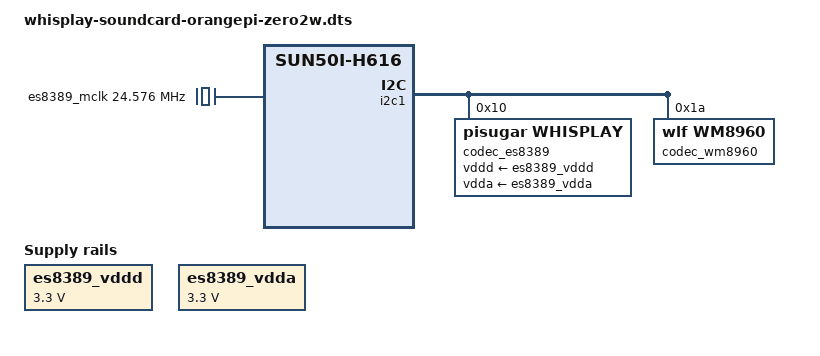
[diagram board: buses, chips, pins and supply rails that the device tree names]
/*
 * Whisplay unified sound card overlay for Orange Pi Zero 2W (H618).
 *
 * Header wiring:
 *   PIN_3  SDA  -> I2C1_SDA (PI8)
 *   PIN_5  SCL  -> I2C1_SCL (PI7)
 *   PIN_12 BCLK -> I2S0_BCLK (PI1)
 *   PIN_35 LRCK -> I2S0_LRCK (PI2)
 *   PIN_38 SDI  -> I2S0_DIN0 (PI4)
 *   PIN_40 SDO  -> I2S0_DOUT0 (PI3)
 */

/dts-v1/;
/plugin/;

/ {
	compatible = "xunlong,orangepi-zero2w", "allwinner,sun50i-h616";

	fragment@0 {
		target = <&pio>;
		__overlay__ {
			whisplay_i2s0_clk_pins: whisplay-i2s0-clk-pins {
				pins = "PI1", "PI2";
				function = "i2s0";
				drive-strength = <20>;
				bias-disable;
			};

			whisplay_i2s0_dout_pin: whisplay-i2s0-dout-pin {
				pins = "PI3";
				function = "i2s0_dout0";
				drive-strength = <20>;
				bias-disable;
			};

			whisplay_i2s0_din_pin: whisplay-i2s0-din-pin {
				pins = "PI4";
				function = "i2s0_din0";
				drive-strength = <20>;
				bias-disable;
			};
		};
	};

	fragment@1 {
		target-path = "/soc";
		__overlay__ {
			whisplay_ahub0: whisplay-ahub0 {
				#sound-dai-cells = <0>;
				compatible = "allwinner,sunxi-snd-plat-ahub";
				apb_num = <0>;
				dmas = <&dma 3>, <&dma 3>;
				dma-names = "tx", "rx";
				playback_cma = <128>;
				capture_cma = <128>;
				tx_fifo_size = <128>;
				rx_fifo_size = <128>;
				tdm_num = <0>;
				tx_pin = <0>;
				rx_pin = <0>;
				pinctrl-names = "default";
				pinctrl-0 = <&whisplay_i2s0_clk_pins
					     &whisplay_i2s0_dout_pin
					     &whisplay_i2s0_din_pin>;
				status = "okay";
			};
		};
	};

	fragment@2 {
		target-path = "/";
		__overlay__ {
			es8389_mclk: es8389-mclk {
				compatible = "fixed-clock";
				#clock-cells = <0>;
				clock-frequency = <24576000>;
				clock-output-names = "es8389-mclk";
			};

			es8389_vddd: es8389-vddd {
				compatible = "regulator-fixed";
				regulator-name = "es8389-vddd";
				regulator-min-microvolt = <3300000>;
				regulator-max-microvolt = <3300000>;
				regulator-always-on;
			};

			es8389_vdda: es8389-vdda {
				compatible = "regulator-fixed";
				regulator-name = "es8389-vdda";
				regulator-min-microvolt = <3300000>;
				regulator-max-microvolt = <3300000>;
				regulator-always-on;
			};

			whisplay_sound: whisplay-sound {
				compatible = "pisugar,whisplay-soundcard";
				i2s-controller = <&whisplay_ahub0>;
				whisplay,es8389-codec = <&codec_es8389>;
				whisplay,es8389-sysclk = <24576000>;
				whisplay,wm8960-codec = <&codec_wm8960>;
				whisplay,sunxi-h616-ahub;
				whisplay,force-48k;
				whisplay,no-continuous-clock;
				status = "okay";
			};
		};
	};

	fragment@3 {
		target = <&i2c1>;
		__overlay__ {
			pinctrl-names = "default";
			pinctrl-0 = <&i2c1_pi_pins>;
			#address-cells = <1>;
			#size-cells = <0>;
			status = "okay";

			codec_es8389: whisplay@10 {
				compatible = "pisugar,whisplay";
				reg = <0x10>;
				#sound-dai-cells = <0>;
				clocks = <&es8389_mclk>;
				clock-names = "mclk";
				vddd-supply = <&es8389_vddd>;
				vdda-supply = <&es8389_vdda>;
				everest,mclk-src = /bits/ 8 <0x40>;
				status = "okay";
			};

			codec_wm8960: wm8960@1a {
				compatible = "wlf,wm8960";
				reg = <0x1a>;
				#sound-dai-cells = <0>;
				wlf,shared-lrclk;
				status = "okay";
			};
		};
	};
};
